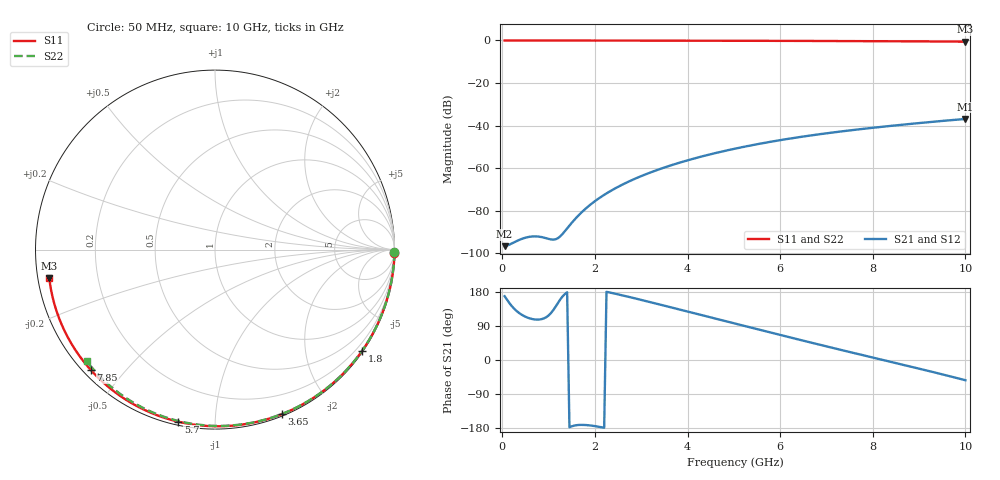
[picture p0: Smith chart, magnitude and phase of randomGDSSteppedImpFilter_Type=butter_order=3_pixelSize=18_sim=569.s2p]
! freq	dB(S11)	phase(S11)	dB(S12)	phase(S12)
!  dB(S21)	phase(S21)	dB(S22)	phase(S22)
!S-par simulation data
#  GHz  S  DB  R 50
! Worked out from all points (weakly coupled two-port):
!   200 points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, 50 MHz to 10 GHz, reference 50 ohm
!   highest |S21| = -36.90 dB at 10 GHz (marker M1); lowest = -96.7 dB at 50 MHz (marker M2)
!   lowest |S11| = -0.6 dB at 10 GHz (marker M3), VSWR 30.69, Z = 1.64 - j4.27 ohm
!   |S11| at or under -10 dB: nowhere
!   |S22| runs from -0.5 to 0.0 dB; largest |S21 - S12| = 0
!   S11 on the Smith chart (normalised r, x): 50 MHz: open; 1.8 GHz: 0.03, -3.22; 3.65 GHz: 0.02, -1.49; 5.7 GHz: 0.02, -0.81; 7.85 GHz: 0.02, -0.41; 10 GHz: 0.03, -0.09
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0.05  -0.00 -1.0  -96.69 168.3  -96.69 168.3  -0.00 -0.8
0.45  -0.01 -8.8  -93.04 117.3  -93.04 117.3  -0.01 -7.2
0.85  -0.02 -16.5  -92.42 107.9  -92.42 107.9  -0.02 -13.6
1.3  -0.03 -25.1  -90.97 167.5  -90.97 167.5  -0.03 -20.7
1.75  -0.04 -33.5  -80.01 -171.3  -80.01 -171.3  -0.04 -27.8
1.8  -0.04 -34.5  -79.03 -171.6  -79.03 -171.6  -0.04 -28.6
2.1  -0.05 -40.1  -73.99 -176.5  -73.99 -176.5  -0.04 -33.2
2.3  -0.06 -43.7  -71.23 178.7  -71.23 178.7  -0.05 -36.3
2.5  -0.06 -47.4  -68.80 173.3  -68.80 173.3  -0.05 -39.3
2.9  -0.07 -54.6  -64.66 161.6  -64.66 161.6  -0.06 -45.4
3.4  -0.08 -63.5  -60.46 146.4  -60.46 146.4  -0.07 -52.8
3.65  -0.09 -67.9  -58.64 138.7  -58.64 138.7  -0.08 -56.5
4.35  -0.11 -79.9  -54.29 117.1  -54.29 117.1  -0.10 -66.5
5.05  -0.14 -91.5  -50.74 95.4  -50.74 95.4  -0.12 -76.3
5.7  -0.17 -102.1  -47.98 75.4  -47.98 75.4  -0.14 -85.1
6.2  -0.20 -110.0  -46.15 60.1  -46.15 60.1  -0.16 -91.8
6.7  -0.23 -117.9  -44.53 44.9  -44.53 44.9  -0.19 -98.3
7.25  -0.27 -126.5  -42.94 28.5  -42.94 28.5  -0.22 -105.3
7.85  -0.32 -135.8  -41.40 10.8  -41.40 10.8  -0.27 -112.8
8.35  -0.37 -143.6  -40.23 -3.8  -40.23 -3.8  -0.31 -118.9
9.2  -0.46 -157.1  -38.42 -28.7  -38.42 -28.7  -0.38 -129.3
10  -0.57 -170.2  -36.90 -53.4  -36.90 -53.4  -0.47 -139.0
